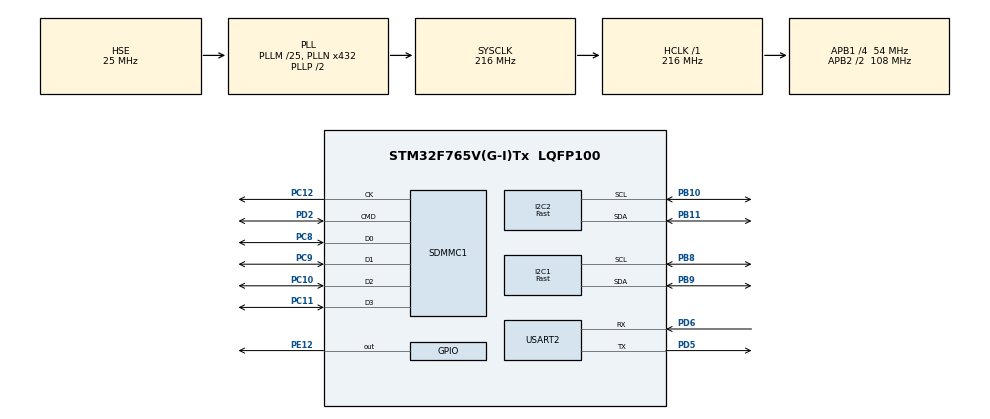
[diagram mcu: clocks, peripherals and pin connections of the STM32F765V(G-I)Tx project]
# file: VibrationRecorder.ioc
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Dma.I2C1_RX.2.Direction=DMA_PERIPH_TO_MEMORY
Dma.I2C1_RX.2.FIFOMode=DMA_FIFOMODE_DISABLE
Dma.I2C1_RX.2.Instance=DMA1_Stream0
Dma.I2C1_RX.2.MemDataAlignment=DMA_MDATAALIGN_BYTE
Dma.I2C1_RX.2.MemInc=DMA_MINC_ENABLE
Dma.I2C1_RX.2.Mode=DMA_NORMAL
Dma.I2C1_RX.2.PeriphDataAlignment=DMA_PDATAALIGN_BYTE
Dma.I2C1_RX.2.PeriphInc=DMA_PINC_DISABLE
Dma.I2C1_RX.2.Priority=DMA_PRIORITY_LOW
Dma.I2C1_TX.3.Direction=DMA_MEMORY_TO_PERIPH
Dma.I2C1_TX.3.FIFOMode=DMA_FIFOMODE_DISABLE
Dma.I2C1_TX.3.Instance=DMA1_Stream6
Dma.I2C1_TX.3.MemDataAlignment=DMA_MDATAALIGN_BYTE
Dma.I2C1_TX.3.MemInc=DMA_MINC_ENABLE
Dma.I2C1_TX.3.Mode=DMA_NORMAL
Dma.I2C1_TX.3.PeriphDataAlignment=DMA_PDATAALIGN_BYTE
Dma.I2C1_TX.3.PeriphInc=DMA_PINC_DISABLE
Dma.I2C1_TX.3.Priority=DMA_PRIORITY_LOW
Dma.Request0=SDMMC1_RX
Dma.Request1=SDMMC1_TX
Dma.Request2=I2C1_RX
Dma.Request3=I2C1_TX
Dma.SDMMC1_RX.0.Direction=DMA_PERIPH_TO_MEMORY
Dma.SDMMC1_RX.0.FIFOMode=DMA_FIFOMODE_ENABLE
Dma.SDMMC1_RX.0.FIFOThreshold=DMA_FIFO_THRESHOLD_FULL
Dma.SDMMC1_RX.0.Instance=DMA2_Stream3
Dma.SDMMC1_RX.0.MemBurst=DMA_MBURST_INC4
Dma.SDMMC1_RX.0.MemDataAlignment=DMA_MDATAALIGN_WORD
Dma.SDMMC1_RX.0.MemInc=DMA_MINC_ENABLE
Dma.SDMMC1_RX.0.Mode=DMA_PFCTRL
Dma.SDMMC1_RX.0.PeriphBurst=DMA_PBURST_INC4
Dma.SDMMC1_RX.0.PeriphDataAlignment=DMA_PDATAALIGN_WORD
Dma.SDMMC1_RX.0.PeriphInc=DMA_PINC_DISABLE
Dma.SDMMC1_RX.0.Priority=DMA_PRIORITY_LOW
Dma.SDMMC1_TX.1.Direction=DMA_MEMORY_TO_PERIPH
Dma.SDMMC1_TX.1.FIFOMode=DMA_FIFOMODE_ENABLE
Dma.SDMMC1_TX.1.FIFOThreshold=DMA_FIFO_THRESHOLD_FULL
Dma.SDMMC1_TX.1.Instance=DMA2_Stream6
Dma.SDMMC1_TX.1.MemBurst=DMA_MBURST_INC4
Dma.SDMMC1_TX.1.MemDataAlignment=DMA_MDATAALIGN_WORD
Dma.SDMMC1_TX.1.MemInc=DMA_MINC_ENABLE
Dma.SDMMC1_TX.1.Mode=DMA_PFCTRL
Dma.SDMMC1_TX.1.PeriphBurst=DMA_PBURST_INC4
Dma.SDMMC1_TX.1.PeriphDataAlignment=DMA_PDATAALIGN_WORD
Dma.SDMMC1_TX.1.PeriphInc=DMA_PINC_DISABLE
Dma.SDMMC1_TX.1.Priority=DMA_PRIORITY_LOW
I2C1.I2C_Speed_Mode=I2C_Fast
I2C1.Timing=0x6000030D
I2C2.I2C_Speed_Mode=I2C_Fast
I2C2.Timing=0x6000030D
Mcu.Family=STM32F7
Mcu.Name=STM32F765V(G-I)Tx
Mcu.Package=LQFP100
NVIC.DMA1_Stream0_IRQn=true\:0\:0\:false\:false\:true\:false
NVIC.DMA1_Stream6_IRQn=true\:0\:0\:false\:false\:true\:false
NVIC.DMA2_Stream3_IRQn=true\:2\:0\:true\:false\:true\:false
NVIC.DMA2_Stream6_IRQn=true\:2\:0\:true\:false\:true\:false
NVIC.PriorityGroup=NVIC_PRIORITYGROUP_4
NVIC.SDMMC1_IRQn=true\:1\:0\:true\:false\:true\:true
NVIC.TIM2_IRQn=true\:0\:0\:false\:false\:true\:true
PB10.Mode=I2C
PB10.Signal=I2C2_SCL
PB11.Mode=I2C
PB11.Signal=I2C2_SDA
PB8.Mode=I2C
PB8.Signal=I2C1_SCL
PB9.Mode=I2C
PB9.Signal=I2C1_SDA
PC10.Mode=SD_4_bits_Wide_bus
PC10.Signal=SDMMC1_D2
PC11.Mode=SD_4_bits_Wide_bus
PC11.Signal=SDMMC1_D3
PC12.Mode=SD_4_bits_Wide_bus
PC12.Signal=SDMMC1_CK
PC8.Mode=SD_4_bits_Wide_bus
PC8.Signal=SDMMC1_D0
PC9.Mode=SD_4_bits_Wide_bus
PC9.Signal=SDMMC1_D1
PD2.Mode=SD_4_bits_Wide_bus
PD2.Signal=SDMMC1_CMD
PD5.Mode=Asynchronous
PD5.Signal=USART2_TX
PD6.Mode=Asynchronous
PD6.Signal=USART2_RX
PE12.Signal=GPIO_Output
PH0/OSC_IN.Mode=HSE-External-Oscillator
PH0/OSC_IN.Signal=RCC_OSC_IN
PH1/OSC_OUT.Mode=HSE-External-Oscillator
PH1/OSC_OUT.Signal=RCC_OSC_OUT
ProjectManager.HeapSize=0x200
ProjectManager.StackSize=0x400
ProjectManager.TargetToolchain=MDK-ARM V5
RCC.AHBFreq_Value=216000000
RCC.APB1CLKDivider=RCC_HCLK_DIV4
RCC.APB1Freq_Value=54000000
RCC.APB1TimFreq_Value=108000000
RCC.APB2CLKDivider=RCC_HCLK_DIV2
RCC.APB2Freq_Value=108000000
RCC.APB2TimFreq_Value=216000000
RCC.CortexFreq_Value=216000000
RCC.HCLKFreq_Value=216000000
RCC.HSE_VALUE=25000000
RCC.HSI_VALUE=16000000
RCC.LSE_VALUE=32768
RCC.PLLM=25
RCC.PLLN=432
RCC.PLLQ=9
RCC.PLLSourceVirtual=RCC_PLLSOURCE_HSE
RCC.SDMMCClockSelection=RCC_SDMMC1CLKSOURCE_CLK48
RCC.SYSCLKFreq_VALUE=216000000
RCC.SYSCLKSource=RCC_SYSCLKSOURCE_PLLCLK
RCC.USBFreq_Value=48000000
RCC.VCOOutputFreq_Value=432000000
RTC.Date=24
RTC.Hours=10
RTC.Minutes=36
RTC.Month=RTC_MONTH_APRIL
RTC.WeekDay=RTC_WEEKDAY_TUESDAY
RTC.Year=18
TIM2.Period=1000-1
TIM2.Prescaler=125-1
USART2.VirtualMode-Asynchronous=VM_ASYNC
USART2.WordLength=WORDLENGTH_8B
VP_FATFS_VS_SDIO.Mode=SDIO
VP_RTC_VS_RTC_Activate.Mode=RTC_Enabled
VP_RTC_VS_RTC_Calendar.Mode=RTC_Calendar
VP_TIM2_VS_ClockSourceINT.Mode=Internal
board=VibrationRecorder

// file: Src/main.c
/**
  ******************************************************************************
  * File Name          : main.c
  * Description        : Main program body
  ******************************************************************************
  * This notice applies to any and all portions of this file
  * that are not between comment pairs USER CODE BEGIN and
  * USER CODE END. Other portions of this file, whether
  * inserted by the user or by software development tools
  * are owned by their respective copyright owners.
  *
  * Copyright (c) 2018 STMicroelectronics International N.V.
  * All rights reserved.
  *
  * Redistribution and use in source and binary forms, with or without
  * modification, are permitted, provided that the following conditions are met:
  *
  * 1. Redistribution of source code must retain the above copyright notice,
  *    this list of conditions and the following disclaimer.
  * 2. Redistributions in binary form must reproduce the above copyright notice,
  *    this list of conditions and the following disclaimer in the documentation
  *    and/or other materials provided with the distribution.
  * 3. Neither the name of STMicroelectronics nor the names of other
  *    contributors to this software may be used to endorse or promote products
  *    derived from this software without specific written permission.
  * 4. This software, including modifications and/or derivative works of this
  *    software, must execute solely and exclusively on microcontroller or
  *    microprocessor devices manufactured by or for STMicroelectronics.
  * 5. Redistribution and use of this software other than as permitted under
  *    this license is void and will automatically terminate your rights under
  *    this license.
  *
  * THIS SOFTWARE IS PROVIDED BY STMICROELECTRONICS AND CONTRIBUTORS "AS IS"
  * AND ANY EXPRESS, IMPLIED OR STATUTORY WARRANTIES, INCLUDING, BUT NOT
  * LIMITED TO, THE IMPLIED WARRANTIES OF MERCHANTABILITY, FITNESS FOR A
  * PARTICULAR PURPOSE AND NON-INFRINGEMENT OF THIRD PARTY INTELLECTUAL PROPERTY
  * RIGHTS ARE DISCLAIMED TO THE FULLEST EXTENT PERMITTED BY LAW. IN NO EVENT
  * SHALL STMICROELECTRONICS OR CONTRIBUTORS BE LIABLE FOR ANY DIRECT, INDIRECT,
  * INCIDENTAL, SPECIAL, EXEMPLARY, OR CONSEQUENTIAL DAMAGES (INCLUDING, BUT NOT
  * LIMITED TO, PROCUREMENT OF SUBSTITUTE GOODS OR SERVICES; LOSS OF USE, DATA,
  * OR PROFITS; OR BUSINESS INTERRUPTION) HOWEVER CAUSED AND ON ANY THEORY OF
  * LIABILITY, WHETHER IN CONTRACT, STRICT LIABILITY, OR TORT (INCLUDING
  * NEGLIGENCE OR OTHERWISE) ARISING IN ANY WAY OUT OF THE USE OF THIS SOFTWARE,
  * EVEN IF ADVISED OF THE POSSIBILITY OF SUCH DAMAGE.
  *
  ******************************************************************************
  */

#include "main.h"
#include "stm32f7xx_hal.h"
#include "dma.h"
#include "fatfs.h"
#include "i2c.h"
#include "rtc.h"
#include "sdmmc.h"
#include "tim.h"
#include "usart.h"
#include "gpio.h"

/* USER CODE BEGIN Includes */
#include "common.h"
/* USER CODE END Includes */

/* USER CODE BEGIN PV */
/* Private variables ---------------------------------------------------------*/
FATFS fs;                 // Work area (file system object) for logical drive
FIL fil;                  // file objects
char fileName[20]="default.txt";
uint16_t fileNo=0;
uint32_t byteswritten;                /* File write counts */

char wtext[100] = "FatFs on STM32F765."; /* File write buffer */
uint32_t seqStamp=0;
uint32_t tmStamp=0,tmStampLst=0;
uint8_t errCnt=0;
uint8_t exitCnt=0;

#define startAddr 0X08018000
FLASH_EraseInitTypeDef fl_erase;
uint32_t PageError = 0;

SensorType MPU6050_0xD0={0x00,0xD0,"MPU6050[0xD0]",0,0,{0,0,0}};
SensorType MPU6050_0xD2={0x01,0xD2,"MPU6050[0xD2]",0,0,{0,0,0}};
SensorType ADXL345_0xA6={0x10,0xA6,"ADXL345[0xA6]",0,0,{0,0,0}};
SensorType ADXL345_0x3A={0x11,0x3A,"ADXL345[0x3A]",0,0,{0,0,0}};
SensorType H3LIS100DL_0x30={0x20,0x30,"H3LIS100DL[0x30]",0,0,{0,0,0}};
SensorType H3LIS100DL_0x32={0x21,0x32,"H3LIS100DL[0x32]",0,0,{0,0,0}};

// Select enabled sensor
SensorType *sensorList[4]={&ADXL345_0xA6,&ADXL345_0x3A,&H3LIS100DL_0x30,&H3LIS100DL_0x32};

uint8_t status=0;
uint8_t i=0,j=0;

extern RTC_TimeTypeDef sTime;
extern RTC_DateTypeDef sDate;
extern uint32_t fatTime;
/* USER CODE END PV */

void SystemClock_Config(void);

/* USER CODE BEGIN PFP */
/* Private function prototypes -----------------------------------------------*/
uint8_t SensorInit(SensorType* sensor);
uint8_t SensorGetData(SensorType* sensor);
/* USER CODE END PFP */

int main(void)
{

  /* MCU Configuration----------------------------------------------------------*/

  /* Reset of all peripherals, Initializes the Flash interface and the Systick. */
  HAL_Init();

  /* Configure the system clock */
  SystemClock_Config();

  /* Initialize all configured peripherals */
  MX_GPIO_Init();
  MX_DMA_Init();
  MX_I2C1_Init();
  MX_I2C2_Init();
  MX_SDMMC1_SD_Init();
  MX_USART2_UART_Init();
  MX_FATFS_Init();
  MX_RTC_Init();
  MX_TIM2_Init();

  /* USER CODE BEGIN 2 */
    HAL_GPIO_WritePin(GPIOE, GPIO_PIN_12, GPIO_PIN_SET);
    printf("\r\n ****** Vibration Logger (bulid 180424) ******\r\n");

    HAL_RTC_GetTime(&hrtc, &sTime, RTC_FORMAT_BIN);
    HAL_RTC_GetDate(&hrtc, &sDate, RTC_FORMAT_BIN);

    printf("\r\n Time:%02d-%02d-%02d %02d:%02d:%02d",sDate.Year,sDate.Month,sDate.Date,sTime.Hours,sTime.Minutes,sTime.Seconds);
    fatTime = ((sDate.Year+20)<<25)|(sDate.Month<<21)|(sDate.Date<<16)|(sTime.Hours<<11)|(sTime.Minutes<<5)|(sTime.Seconds>>1);

	fileNo = *(__IO uint32_t*)(startAddr);
	fileNo++;

	HAL_FLASH_Unlock();
	fl_erase.TypeErase=FLASH_TYPEERASE_SECTORS;
	fl_erase.Sector=FLASH_SECTOR_3;
	fl_erase.NbSectors=1;
	fl_erase.VoltageRange=FLASH_VOLTAGE_RANGE_3;

	HAL_FLASHEx_Erase(&fl_erase, &PageError);
	HAL_FLASH_Program(TYPEPROGRAM_WORD, startAddr, (uint32_t)fileNo);

	HAL_FLASH_Lock();

	fileNo = *(__IO uint32_t*)(startAddr);

  /* USER CODE END 2 */

  /* Infinite loop */
  /* USER CODE BEGIN WHILE */
	while (1)
	{
		/*##-1- Register the file system object to the FatFs module ##############*/
        printf("\r\n Mount: ");
		retSD = f_mount(&fs, "0:", 1);
		if(retSD)   printf("error: %d",retSD);
		else        printf("success!");

		/*##-2- Create and Open new text file objects with write access ######*/
        printf("\r\n Open : ");
		sprintf(fileName,"#%d.txt",fileNo);
		retSD = f_open(&fil, fileName, FA_CREATE_ALWAYS | FA_WRITE);
		if(retSD)   printf("error: %d",retSD);
		else        printf("success!: %s",fileName);

		errCnt=0;

		 /* MEMS Initial process */

        for(int i=0;i<4;i++)
        {
            printf("\r\n #%d-%s:",i,sensorList[i]->name);
            status = SensorInit(sensorList[i]);

            if(!status)
            {
                printf("Init success!");
                sensorList[i]->enabled=1;
            }
            else
            {
                printf("Init error!");
                sensorList[i]->enabled=0;
            }
        }

		sprintf(wtext,"SeqSmp, TmSmp,Acc_1x,Acc_1y,Acc_1z,Acc_2x,Acc_2y,Acc_2z,Acc_3x,Acc_3y,Acc_3z,Acc_4x,Acc_4y,Acc_4z");
		retSD = f_write(&fil, wtext, sizeof(wtext), (void *)&byteswritten);
        printf("\r\n%s",wtext);

		while(1)
		{
			seqStamp++;
            tmStamp = HAL_GetTick();

            for(int i=0;i<4;i++)
            {
                if(sensorList[i]->enabled)
                {
                    status = SensorGetData(sensorList[i]);
                    if(status)
                    {
                        if(++sensorList[i]->err>=10)
                        {
                            sensorList[i]->enabled = 0;
                            sensorList[i]->rawData[0]=0; sensorList[i]->rawData[1]=0; sensorList[i]->rawData[2]=0;
                            printf("\r\n%6d: %s offboard!",seqStamp,sensorList[i]->name);
                        }
                    }
                    else sensorList[i]->err=0;
                }

            }

            sprintf(wtext,"\r\n%6d,%6d,%6d,%6d,%6d,%6d,%6d,%6d,%6d,%6d,%6d,%6d,%6d,%6d",seqStamp%1000000,tmStamp%1000000,
                        sensorList[0]->rawData[0],sensorList[0]->rawData[1],sensorList[0]->rawData[2],
                        sensorList[1]->rawData[0],sensorList[1]->rawData[1],sensorList[1]->rawData[2],
                        sensorList[2]->rawData[0],sensorList[2]->rawData[1],sensorList[2]->rawData[2],
                        sensorList[3]->rawData[0],sensorList[3]->rawData[1],sensorList[3]->rawData[2]);

            retSD = f_write(&fil, wtext, sizeof(wtext), (void *)&byteswritten);

            if(tmStamp-tmStampLst>=1000)
            {
                tmStampLst = tmStamp;
                printf("%s",wtext);
            }

			if(seqStamp%256==0)
			{
                HAL_GPIO_TogglePin(GPIOE, GPIO_PIN_12);
			}

            if(seqStamp%256==0)
            {
                for(int i=0;i<4;i++)
                {
                    if(!sensorList[i]->enabled)
                    {
                        status = SensorInit(sensorList[i]);

                        if(!status)
                        {
                            sensorList[i]->enabled=1;
                            printf("\r\n%6d: %s onboard!",seqStamp,sensorList[i]->name);
                        }
                        else        sensorList[i]->enabled=0;
                    }
                }
            }

			if(seqStamp%256==0)
			{
				retSD = f_sync(&fil);
				if(retSD)
                {
                    errCnt++;
                    printf(",Sync:%d",errCnt);
                }
                else        errCnt=0;

			}

            if(errCnt>5)    break;

		}

		/*##-4- Close the open text files ################################*/
		retSD = f_close(&fil);
		if(retSD)   printf(" Close error: %d\r\n",retSD);
		else        printf(" Close success!\r\n");

        if(errCnt>=5)
		{
			printf("Fatal Error! Reset system...");
			NVIC_SystemReset();
		}

  /* USER CODE END WHILE */

  }

}

/** System Clock Configuration
*/
void SystemClock_Config(void)
{

  RCC_OscInitTypeDef RCC_OscInitStruct;
  RCC_ClkInitTypeDef RCC_ClkInitStruct;
  RCC_PeriphCLKInitTypeDef PeriphClkInitStruct;

    /**Configure the main internal regulator output voltage
    */
  __HAL_RCC_PWR_CLK_ENABLE();

  __HAL_PWR_VOLTAGESCALING_CONFIG(PWR_REGULATOR_VOLTAGE_SCALE1);

    /**Initializes the CPU, AHB and APB busses clocks
    */
  RCC_OscInitStruct.OscillatorType = RCC_OSCILLATORTYPE_LSI|RCC_OSCILLATORTYPE_HSE;
  RCC_OscInitStruct.HSEState = RCC_HSE_ON;
  RCC_OscInitStruct.LSIState = RCC_LSI_ON;
  RCC_OscInitStruct.PLL.PLLState = RCC_PLL_ON;
  RCC_OscInitStruct.PLL.PLLSource = RCC_PLLSOURCE_HSE;
  RCC_OscInitStruct.PLL.PLLM = 25;
  RCC_OscInitStruct.PLL.PLLN = 432;
  RCC_OscInitStruct.PLL.PLLP = RCC_PLLP_DIV2;
  RCC_OscInitStruct.PLL.PLLQ = 9;
  if (HAL_RCC_OscConfig(&RCC_OscInitStruct) != HAL_OK)
  {
    _Error_Handler(__FILE__, __LINE__);
  }

    /**Activate the Over-Drive mode
    */
  if (HAL_PWREx_EnableOverDrive() != HAL_OK)
  {
    _Error_Handler(__FILE__, __LINE__);
  }

    /**Initializes the CPU, AHB and APB busses clocks
    */
  RCC_ClkInitStruct.ClockType = RCC_CLOCKTYPE_HCLK|RCC_CLOCKTYPE_SYSCLK
                              |RCC_CLOCKTYPE_PCLK1|RCC_CLOCKTYPE_PCLK2;
  RCC_ClkInitStruct.SYSCLKSource = RCC_SYSCLKSOURCE_PLLCLK;
  RCC_ClkInitStruct.AHBCLKDivider = RCC_SYSCLK_DIV1;
  RCC_ClkInitStruct.APB1CLKDivider = RCC_HCLK_DIV4;
  RCC_ClkInitStruct.APB2CLKDivider = RCC_HCLK_DIV2;

  if (HAL_RCC_ClockConfig(&RCC_ClkInitStruct, FLASH_LATENCY_7) != HAL_OK)
  {
    _Error_Handler(__FILE__, __LINE__);
  }

  PeriphClkInitStruct.PeriphClockSelection = RCC_PERIPHCLK_RTC|RCC_PERIPHCLK_USART2
                              |RCC_PERIPHCLK_I2C1|RCC_PERIPHCLK_I2C2
                              |RCC_PERIPHCLK_SDMMC1|RCC_PERIPHCLK_CLK48;
  PeriphClkInitStruct.RTCClockSelection = RCC_RTCCLKSOURCE_LSI;
  PeriphClkInitStruct.Usart2ClockSelection = RCC_USART2CLKSOURCE_PCLK1;
  PeriphClkInitStruct.I2c1ClockSelection = RCC_I2C1CLKSOURCE_PCLK1;
  PeriphClkInitStruct.I2c2ClockSelection = RCC_I2C2CLKSOURCE_PCLK1;
  PeriphClkInitStruct.Clk48ClockSelection = RCC_CLK48SOURCE_PLL;
  PeriphClkInitStruct.Sdmmc1ClockSelection = RCC_SDMMC1CLKSOURCE_CLK48;
  if (HAL_RCCEx_PeriphCLKConfig(&PeriphClkInitStruct) != HAL_OK)
  {
    _Error_Handler(__FILE__, __LINE__);
  }

    /**Configure the Systick interrupt time
    */
  HAL_SYSTICK_Config(HAL_RCC_GetHCLKFreq()/1000);

    /**Configure the Systick
    */
  HAL_SYSTICK_CLKSourceConfig(SYSTICK_CLKSOURCE_HCLK);

  /* SysTick_IRQn interrupt configuration */
  HAL_NVIC_SetPriority(SysTick_IRQn, 0, 0);
}

/* USER CODE BEGIN 4 */

void HAL_TIM_PeriodElapsedCallback(TIM_HandleTypeDef *htim)
{
    if(htim->Instance == TIM2)      // TIM2: System Management (1Hz)
    {
    }
}

uint8_t SensorInit(SensorType* sensor)
{
    uint8_t status = 0;
    switch((sensor->id)>>4)
    {
        case TYPE_MPU6050:
            status+=I2C_WriteByte(sensor->addr,0x6B,0x00);
            status+=I2C_WriteByte(sensor->addr,0x19,0x07);
            status+=I2C_WriteByte(sensor->addr,0x1A,0x07);
            status+=I2C_WriteByte(sensor->addr,0x1B,0x18);
            status+=I2C_WriteByte(sensor->addr,0x1C,0x18);
            break;

        case TYPE_ADXL345:
            status+=I2C_WriteByte(sensor->addr,0x31,0x0B);
            status+=I2C_WriteByte(sensor->addr,0x2C,0x0F);
            status+=I2C_WriteByte(sensor->addr,0x2D,0x08);
            status+=I2C_WriteByte(sensor->addr,0x2E,0x80);
            status+=I2C_WriteByte(sensor->addr,0x1E,0x00);
            status+=I2C_WriteByte(sensor->addr,0x1F,0x00);
            status+=I2C_WriteByte(sensor->addr,0x20,0x05);
            break;

        case TYPE_H3LIS100DL:
            status+=I2C_WriteByte(sensor->addr,0x20,0x37);
            status+=I2C_WriteByte(sensor->addr,0x21,0x00);
            status+=I2C_WriteByte(sensor->addr,0x22,0x00);
            status+=I2C_WriteByte(sensor->addr,0x23,0x00);
            status+=I2C_WriteByte(sensor->addr,0x24,0x00);
            break;
    }

    return status;

}

uint8_t SensorGetData(SensorType* sensor)
{
    uint8_t status = 0;
    switch((sensor->id)>>4)
    {
        case TYPE_MPU6050: status = MPU6050_RawData(sensor->addr,0x3B,sensor->rawData); break;

        case TYPE_ADXL345: status = ADXL345_RawData(sensor->addr,0x32,sensor->rawData); break;

        case TYPE_H3LIS100DL: status = H3LIS100DL_RawData(sensor); break;
    }

    return status;
}

/* USER CODE END 4 */

void _Error_Handler(char * file, int line)
{
  /* USER CODE BEGIN Error_Handler_Debug */
  /* User can add his own implementation to report the HAL error return state */
	printf("[Error]File:%s, Line:%d",file,line);
	while(1)
  {
  }
  /* USER CODE END Error_Handler_Debug */
}

/************************ (C) COPYRIGHT STMicroelectronics *****END OF FILE****/
